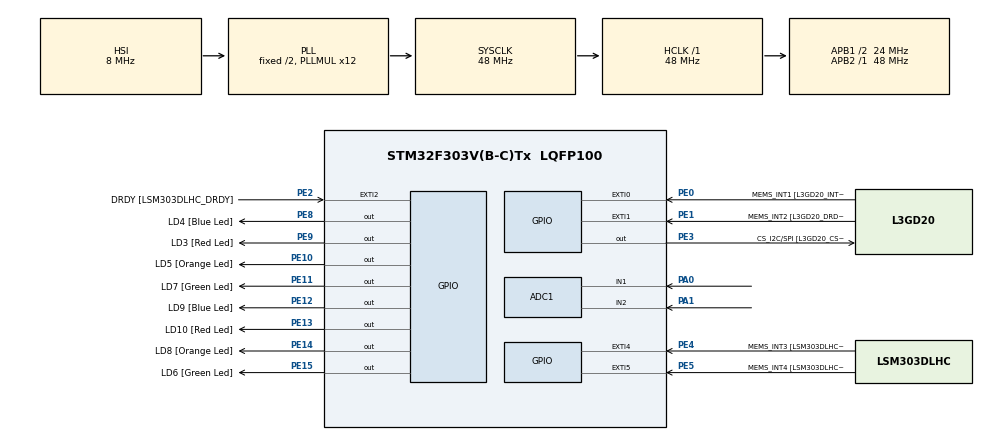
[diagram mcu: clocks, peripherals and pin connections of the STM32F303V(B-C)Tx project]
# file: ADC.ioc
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ADC1.Channel-5\#ChannelRegularConversion=ADC_CHANNEL_2
ADC1.Channel-6\#ChannelRegularConversion=ADC_CHANNEL_1
ADC1.NbrOfConversion=2
ADC1.NbrOfConversionFlag=1
ADC1.Offset-5\#ChannelRegularConversion=0
ADC1.Offset-6\#ChannelRegularConversion=0
ADC1.OffsetNumber-5\#ChannelRegularConversion=ADC_OFFSET_NONE
ADC1.OffsetNumber-6\#ChannelRegularConversion=ADC_OFFSET_NONE
ADC1.Rank-5\#ChannelRegularConversion=1
ADC1.Rank-6\#ChannelRegularConversion=2
ADC1.SamplingTime-5\#ChannelRegularConversion=ADC_SAMPLETIME_1CYCLE_5
ADC1.SamplingTime-6\#ChannelRegularConversion=ADC_SAMPLETIME_1CYCLE_5
ADC1.SamplingTimeOPAMP-6\#ChannelRegularConversion=ADC_SAMPLETIME_19CYCLES_5
ADC1.master=1
Dma.ADC1.0.Direction=DMA_PERIPH_TO_MEMORY
Dma.ADC1.0.Instance=DMA1_Channel1
Dma.ADC1.0.MemDataAlignment=DMA_MDATAALIGN_HALFWORD
Dma.ADC1.0.MemInc=DMA_MINC_ENABLE
Dma.ADC1.0.Mode=DMA_NORMAL
Dma.ADC1.0.PeriphDataAlignment=DMA_PDATAALIGN_HALFWORD
Dma.ADC1.0.PeriphInc=DMA_PINC_DISABLE
Dma.ADC1.0.Priority=DMA_PRIORITY_LOW
Dma.Request0=ADC1
Mcu.Family=STM32F3
Mcu.Name=STM32F303V(B-C)Tx
Mcu.Package=LQFP100
NVIC.DMA1_Channel1_IRQn=true\:0\:0\:false\:false\:true\:false\:true\:true
NVIC.PriorityGroup=NVIC_PRIORITYGROUP_0
PA0.Mode=IN1-Single-Ended
PA0.Signal=ADC1_IN1
PA1.Mode=IN2-Single-Ended
PA1.Signal=ADC1_IN2
PA11.GPIO_Label=DM
PA11.Signal=USB_DM
PA12.GPIO_Label=DP
PA12.Signal=USB_DP
PA13.GPIO_Label=SWDIO
PA13.Signal=SYS_JTMS-SWDIO
PA14.GPIO_Label=SWCLK
PA14.Signal=SYS_JTCK-SWCLK
PA5.GPIO_Label=SPI1_SCK [L3GD20_SCL/SPC]
PA5.GPIO_Mode=GPIO_MODE_AF_PP
PA5.GPIO_PuPd=GPIO_NOPULL
PA5.GPIO_Speed=GPIO_SPEED_FREQ_LOW
PA5.Signal=SPI1_SCK
PA6.GPIO_Label=SPI1_MISO [L3GD20_SA0/SDO]
PA6.GPIO_Mode=GPIO_MODE_AF_PP
PA6.GPIO_PuPd=GPIO_NOPULL
PA6.GPIO_Speed=GPIO_SPEED_FREQ_LOW
PA6.Signal=SPI1_MISO
PA7.GPIO_Label=SPI1_MISO [L3GD20_SDA/SDI/SDO]
PA7.GPIO_Mode=GPIO_MODE_AF_PP
PA7.GPIO_PuPd=GPIO_NOPULL
PA7.GPIO_Speed=GPIO_SPEED_FREQ_LOW
PA7.Signal=SPI1_MOSI
PB3.GPIO_Label=SWO
PB3.Signal=SYS_JTDO-TRACESWO
PB6.GPIO_FM6=__NULL
PB6.GPIO_Label=I2C1_SCL [LSM303DLHC_SCL]
PB6.GPIO_Mode=GPIO_MODE_AF_OD
PB6.GPIO_PuPd=GPIO_NOPULL
PB6.GPIO_Speed=GPIO_SPEED_FREQ_LOW
PB6.Signal=I2C1_SCL
PB7.GPIO_FM7=__NULL
PB7.GPIO_Label=I2C1_SDA [LSM303DLHC_SDA]
PB7.GPIO_Mode=GPIO_MODE_AF_OD
PB7.GPIO_PuPd=GPIO_NOPULL
PB7.GPIO_Speed=GPIO_SPEED_FREQ_LOW
PB7.Signal=I2C1_SDA
PC14-OSC32_IN.GPIO_Label=OSC32_IN
PC14-OSC32_IN.Signal=RCC_OSC32_IN
PC15-OSC32_OUT.GPIO_Label=OSC32_OUT
PC15-OSC32_OUT.Signal=RCC_OSC32_OUT
PE0.GPIO_Label=MEMS_INT1 [L3GD20_INT1]
PE0.GPIO_ModeDefaultEXTI=GPIO_MODE_EVT_RISING
PE0.GPIO_PuPd=GPIO_NOPULL
PE0.Signal=GPXTI0
PE1.GPIO_Label=MEMS_INT2 [L3GD20_DRDY/INT2]
PE1.GPIO_ModeDefaultEXTI=GPIO_MODE_EVT_RISING
PE1.GPIO_PuPd=GPIO_NOPULL
PE1.Signal=GPXTI1
PE10.GPIO_Label=LD5 [Orange Led]
PE10.GPIO_ModeDefaultOutputPP=GPIO_MODE_OUTPUT_PP
PE10.GPIO_PuPd=GPIO_NOPULL
PE10.GPIO_Speed=GPIO_SPEED_FREQ_LOW
PE10.Signal=GPIO_Output
PE11.GPIO_Label=LD7 [Green Led]
PE11.GPIO_ModeDefaultOutputPP=GPIO_MODE_OUTPUT_PP
PE11.GPIO_PuPd=GPIO_NOPULL
PE11.GPIO_Speed=GPIO_SPEED_FREQ_LOW
PE11.Signal=GPIO_Output
PE12.GPIO_Label=LD9 [Blue Led]
PE12.GPIO_ModeDefaultOutputPP=GPIO_MODE_OUTPUT_PP
PE12.GPIO_PuPd=GPIO_NOPULL
PE12.GPIO_Speed=GPIO_SPEED_FREQ_LOW
PE12.Signal=GPIO_Output
PE13.GPIO_Label=LD10 [Red Led]
PE13.GPIO_ModeDefaultOutputPP=GPIO_MODE_OUTPUT_PP
PE13.GPIO_PuPd=GPIO_NOPULL
PE13.GPIO_Speed=GPIO_SPEED_FREQ_LOW
PE13.Signal=GPIO_Output
PE14.GPIO_Label=LD8 [Orange Led]
PE14.GPIO_ModeDefaultOutputPP=GPIO_MODE_OUTPUT_PP
PE14.GPIO_PuPd=GPIO_NOPULL
PE14.GPIO_Speed=GPIO_SPEED_FREQ_LOW
PE14.Signal=GPIO_Output
PE15.GPIO_Label=LD6 [Green Led]
PE15.GPIO_ModeDefaultOutputPP=GPIO_MODE_OUTPUT_PP
PE15.GPIO_PuPd=GPIO_NOPULL
PE15.GPIO_Speed=GPIO_SPEED_FREQ_LOW
PE15.Signal=GPIO_Output
PE2.GPIO_Label=DRDY [LSM303DLHC_DRDY]
PE2.GPIO_ModeDefaultEXTI=GPIO_MODE_EVT_RISING
PE2.GPIO_PuPd=GPIO_NOPULL
PE2.Signal=GPXTI2
PE3.GPIO_Label=CS_I2C/SPI [L3GD20_CS_I2C/SPI]
PE3.GPIO_ModeDefaultOutputPP=GPIO_MODE_OUTPUT_PP
PE3.GPIO_PuPd=GPIO_NOPULL
PE3.GPIO_Speed=GPIO_SPEED_FREQ_LOW
PE3.Signal=GPIO_Output
PE4.GPIO_Label=MEMS_INT3 [LSM303DLHC_INT1]
PE4.GPIO_ModeDefaultEXTI=GPIO_MODE_EVT_RISING
PE4.GPIO_PuPd=GPIO_NOPULL
PE4.Signal=GPXTI4
PE5.GPIO_Label=MEMS_INT4 [LSM303DLHC_INT2]
PE5.GPIO_ModeDefaultEXTI=GPIO_MODE_EVT_RISING
PE5.GPIO_PuPd=GPIO_NOPULL
PE5.Signal=GPXTI5
PE8.GPIO_Label=LD4 [Blue Led]
PE8.GPIO_ModeDefaultOutputPP=GPIO_MODE_OUTPUT_PP
PE8.GPIO_PuPd=GPIO_NOPULL
PE8.GPIO_Speed=GPIO_SPEED_FREQ_LOW
PE8.Signal=GPIO_Output
PE9.GPIO_Label=LD3 [Red Led]
PE9.GPIO_ModeDefaultOutputPP=GPIO_MODE_OUTPUT_PP
PE9.GPIO_PuPd=GPIO_NOPULL
PE9.GPIO_Speed=GPIO_SPEED_FREQ_LOW
PE9.Signal=GPIO_Output
PF0-OSC_IN.GPIO_Label=OSC_IN
PF0-OSC_IN.Signal=RCC_OSC_IN
PF1-OSC_OUT.GPIO_Label=OSC_OUT
PF1-OSC_OUT.Signal=RCC_OSC_OUT
ProjectManager.HeapSize=0x200
ProjectManager.StackSize=0x400
ProjectManager.TargetToolchain=STM32CubeIDE
RCC.AHBFreq_Value=48000000
RCC.APB1CLKDivider=RCC_HCLK_DIV2
RCC.APB1Freq_Value=24000000
RCC.APB1TimFreq_Value=48000000
RCC.APB2Freq_Value=48000000
RCC.APB2TimFreq_Value=48000000
RCC.CortexFreq_Value=48000000
RCC.HCLKFreq_Value=48000000
RCC.HSE_VALUE=8000000
RCC.HSI_VALUE=8000000
RCC.LSE_VALUE=32768
RCC.PLLMUL=RCC_PLL_MUL12
RCC.SYSCLKFreq_VALUE=48000000
RCC.SYSCLKSourceVirtual=RCC_SYSCLKSOURCE_PLLCLK
RCC.USBFreq_Value=48000000
board=STM32F3DISCOVERY

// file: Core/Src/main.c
/* USER CODE BEGIN Header */
/**
  ******************************************************************************
  * @file           : main.c
  * @brief          : Main program body
  ******************************************************************************
  * @attention
  *
  * Copyright (c) 2023 STMicroelectronics.
  * All rights reserved.
  *
  * This software is licensed under terms that can be found in the LICENSE file
  * in the root directory of this software component.
  * If no LICENSE file comes with this software, it is provided AS-IS.
  *
  ******************************************************************************
  */
/* USER CODE END Header */
#include "main.h"

/* USER CODE BEGIN Includes */
#include "serial.h"
#include "data_handler.h"
#include <stdio.h>
#include <stdlib.h>
#include "led.h"
/* USER CODE END Includes */

ADC_HandleTypeDef hadc1;
DMA_HandleTypeDef hdma_adc1;

/* USER CODE BEGIN PV */
volatile uint16_t	adcResults [2];
const int 			adcChannels = 2;
volatile int		adcConvComplete = 0;
uint8_t pitch;
uint8_t yaw;
int scale = 0b00000001;
uint8_t string[100];

#define BUFFER 100
int current_game_state = 0;
char input_buffer[BUFFER] = {0}; //input data
int input_counter = 0;
/* USER CODE END PV */

void SystemClock_Config(void);
static void MX_GPIO_Init(void);
static void MX_DMA_Init(void);
static void MX_ADC1_Init(void);

/* USER CODE BEGIN 0 */
void USART1_IRQHandler(){

	char single_inp;
	int test = 0;

	test = SerialReceiveChar(&USART1_PORT, &single_inp);
	if (test == 1){
		input_buffer[input_counter] = single_inp;
		input_counter ++;
		//set_led(0b0101);
		//SerialOutputChar(single_inp, &USART1_PORT);
	}
	if (single_inp == 33){ //check for end of string character
		if (strncmp(input_buffer, "AA55", 4) == 0){ //check for sentinal char
			if (input_buffer[4] == 49){ //if msgtype is 1
				char *data = malloc(4);
				strcpy(data, input_buffer + 5);
				data[2] = 0;

				//SerialOutputString(data, &USART1_PORT);
				empty_buffer(input_buffer, BUFFER);
				input_counter = 0;
				test = 0;
				single_inp = 0;

				state_handler(data, &current_game_state);
				free(data);

				return;
			}

		}
		else{
			//set_led(0b100010); //error
		}
		//SerialOutputString(input_buffer, &USART1_PORT);

		empty_buffer(input_buffer, BUFFER);
		input_counter = 0;
		test = 0;
		single_inp = 0;

	}

}

void enter_login(){
	set_led(0b00110011);
	while(1){
		if (current_game_state != 5){
			SerialOutputString("!", &USART1_PORT);
			enter_waiting();
		}
		HAL_ADC_Start_DMA(&hadc1, (uint32_t*)adcResults, adcChannels);
	    while (adcConvComplete == 0)
	    {

	    }
	    adcConvComplete = 0;

  	    pitch = adcResults[0]/(4000/24);

	    yaw = adcResults[1]/(4000/24);
	    sprintf(string,"AA554%2hu%2hu!",pitch,yaw);
	    SerialOutputString(string, &USART1_PORT);
	    HAL_Delay(10);
	}
}

void enter_waiting(){
	set_led(0b11001100);
	while(1){
		check_state(current_game_state);
	}
}

/* USER CODE END 0 */

int main(void)
{

  /* MCU Configuration--------------------------------------------------------*/

  /* Reset of all peripherals, Initializes the Flash interface and the Systick. */
  HAL_Init();

  /* USER CODE BEGIN Init */

  SerialInitialise(BAUD_115200, &USART1_PORT, 0x00);
  enable_interrupts_RX();
  /* USER CODE END Init */

  /* Configure the system clock */
  SystemClock_Config();

  /* Initialize all configured peripherals */
  MX_GPIO_Init();
  MX_DMA_Init();
  MX_ADC1_Init();
  /* USER CODE BEGIN 2 */
  uint8_t *led_register = ((uint8_t*)&(GPIOE->ODR)) + 1;
  *led_register = 0b10101010;
  /* USER CODE END 2 */

  /* Infinite loop */
  /* USER CODE BEGIN WHILE */
  while (1)
  {
	  enter_waiting();

    /* USER CODE END WHILE */

  }
}

void SystemClock_Config(void)
{
  RCC_OscInitTypeDef RCC_OscInitStruct = {0};
  RCC_ClkInitTypeDef RCC_ClkInitStruct = {0};
  RCC_PeriphCLKInitTypeDef PeriphClkInit = {0};

  /** Initializes the RCC Oscillators according to the specified parameters
  * in the RCC_OscInitTypeDef structure.
  */
  RCC_OscInitStruct.OscillatorType = RCC_OSCILLATORTYPE_HSI;
  RCC_OscInitStruct.HSIState = RCC_HSI_ON;
  RCC_OscInitStruct.HSICalibrationValue = RCC_HSICALIBRATION_DEFAULT;
  RCC_OscInitStruct.PLL.PLLState = RCC_PLL_ON;
  RCC_OscInitStruct.PLL.PLLSource = RCC_PLLSOURCE_HSI;
  RCC_OscInitStruct.PLL.PLLMUL = RCC_PLL_MUL12;
  if (HAL_RCC_OscConfig(&RCC_OscInitStruct) != HAL_OK)
  {
    Error_Handler();
  }

  /** Initializes the CPU, AHB and APB buses clocks
  */
  RCC_ClkInitStruct.ClockType = RCC_CLOCKTYPE_HCLK|RCC_CLOCKTYPE_SYSCLK
                              |RCC_CLOCKTYPE_PCLK1|RCC_CLOCKTYPE_PCLK2;
  RCC_ClkInitStruct.SYSCLKSource = RCC_SYSCLKSOURCE_PLLCLK;
  RCC_ClkInitStruct.AHBCLKDivider = RCC_SYSCLK_DIV1;
  RCC_ClkInitStruct.APB1CLKDivider = RCC_HCLK_DIV2;
  RCC_ClkInitStruct.APB2CLKDivider = RCC_HCLK_DIV1;

  if (HAL_RCC_ClockConfig(&RCC_ClkInitStruct, FLASH_LATENCY_1) != HAL_OK)
  {
    Error_Handler();
  }
  PeriphClkInit.PeriphClockSelection = RCC_PERIPHCLK_ADC12;
  PeriphClkInit.Adc12ClockSelection = RCC_ADC12PLLCLK_DIV1;
  if (HAL_RCCEx_PeriphCLKConfig(&PeriphClkInit) != HAL_OK)
  {
    Error_Handler();
  }
}

static void MX_ADC1_Init(void)
{

  ADC_MultiModeTypeDef multimode = {0};
  ADC_ChannelConfTypeDef sConfig = {0};

  /** Common config
  */
  hadc1.Instance = ADC1;
  hadc1.Init.ClockPrescaler = ADC_CLOCK_ASYNC_DIV1;
  hadc1.Init.Resolution = ADC_RESOLUTION_12B;
  hadc1.Init.ScanConvMode = ADC_SCAN_ENABLE;
  hadc1.Init.ContinuousConvMode = DISABLE;
  hadc1.Init.DiscontinuousConvMode = DISABLE;
  hadc1.Init.ExternalTrigConvEdge = ADC_EXTERNALTRIGCONVEDGE_NONE;
  hadc1.Init.ExternalTrigConv = ADC_SOFTWARE_START;
  hadc1.Init.DataAlign = ADC_DATAALIGN_RIGHT;
  hadc1.Init.NbrOfConversion = 2;
  hadc1.Init.DMAContinuousRequests = DISABLE;
  hadc1.Init.EOCSelection = ADC_EOC_SINGLE_CONV;
  hadc1.Init.LowPowerAutoWait = DISABLE;
  hadc1.Init.Overrun = ADC_OVR_DATA_OVERWRITTEN;
  if (HAL_ADC_Init(&hadc1) != HAL_OK)
  {
    Error_Handler();
  }

  /** Configure the ADC multi-mode
  */
  multimode.Mode = ADC_MODE_INDEPENDENT;
  if (HAL_ADCEx_MultiModeConfigChannel(&hadc1, &multimode) != HAL_OK)
  {
    Error_Handler();
  }

  /** Configure Regular Channel
  */
  sConfig.Channel = ADC_CHANNEL_2;
  sConfig.Rank = ADC_REGULAR_RANK_1;
  sConfig.SingleDiff = ADC_SINGLE_ENDED;
  sConfig.SamplingTime = ADC_SAMPLETIME_1CYCLE_5;
  sConfig.OffsetNumber = ADC_OFFSET_NONE;
  sConfig.Offset = 0;
  if (HAL_ADC_ConfigChannel(&hadc1, &sConfig) != HAL_OK)
  {
    Error_Handler();
  }

  /** Configure Regular Channel
  */
  sConfig.Channel = ADC_CHANNEL_1;
  sConfig.Rank = ADC_REGULAR_RANK_2;
  if (HAL_ADC_ConfigChannel(&hadc1, &sConfig) != HAL_OK)
  {
    Error_Handler();
  }

}

static void MX_DMA_Init(void)
{

  /* DMA controller clock enable */
  __HAL_RCC_DMA1_CLK_ENABLE();

  /* DMA interrupt init */
  /* DMA1_Channel1_IRQn interrupt configuration */
  HAL_NVIC_SetPriority(DMA1_Channel1_IRQn, 0, 0);
  HAL_NVIC_EnableIRQ(DMA1_Channel1_IRQn);

}

static void MX_GPIO_Init(void)
{
  GPIO_InitTypeDef GPIO_InitStruct = {0};

  /* GPIO Ports Clock Enable */
  __HAL_RCC_GPIOE_CLK_ENABLE();
  __HAL_RCC_GPIOC_CLK_ENABLE();
  __HAL_RCC_GPIOF_CLK_ENABLE();
  __HAL_RCC_GPIOA_CLK_ENABLE();
  __HAL_RCC_GPIOB_CLK_ENABLE();

  /*Configure GPIO pin Output Level */
  HAL_GPIO_WritePin(GPIOE, CS_I2C_SPI_Pin|LD4_Pin|LD3_Pin|LD5_Pin
                          |LD7_Pin|LD9_Pin|LD10_Pin|LD8_Pin
                          |LD6_Pin, GPIO_PIN_RESET);

  /*Configure GPIO pins : DRDY_Pin MEMS_INT3_Pin MEMS_INT4_Pin MEMS_INT1_Pin
                           MEMS_INT2_Pin */
  GPIO_InitStruct.Pin = DRDY_Pin|MEMS_INT3_Pin|MEMS_INT4_Pin|MEMS_INT1_Pin
                          |MEMS_INT2_Pin;
  GPIO_InitStruct.Mode = GPIO_MODE_EVT_RISING;
  GPIO_InitStruct.Pull = GPIO_NOPULL;
  HAL_GPIO_Init(GPIOE, &GPIO_InitStruct);

  /*Configure GPIO pins : CS_I2C_SPI_Pin LD4_Pin LD3_Pin LD5_Pin
                           LD7_Pin LD9_Pin LD10_Pin LD8_Pin
                           LD6_Pin */
  GPIO_InitStruct.Pin = CS_I2C_SPI_Pin|LD4_Pin|LD3_Pin|LD5_Pin
                          |LD7_Pin|LD9_Pin|LD10_Pin|LD8_Pin
                          |LD6_Pin;
  GPIO_InitStruct.Mode = GPIO_MODE_OUTPUT_PP;
  GPIO_InitStruct.Pull = GPIO_NOPULL;
  GPIO_InitStruct.Speed = GPIO_SPEED_FREQ_LOW;
  HAL_GPIO_Init(GPIOE, &GPIO_InitStruct);

  /*Configure GPIO pins : SPI1_SCK_Pin SPI1_MISO_Pin SPI1_MISOA7_Pin */
  GPIO_InitStruct.Pin = SPI1_SCK_Pin|SPI1_MISO_Pin|SPI1_MISOA7_Pin;
  GPIO_InitStruct.Mode = GPIO_MODE_AF_PP;
  GPIO_InitStruct.Pull = GPIO_NOPULL;
  GPIO_InitStruct.Speed = GPIO_SPEED_FREQ_LOW;
  GPIO_InitStruct.Alternate = GPIO_AF5_SPI1;
  HAL_GPIO_Init(GPIOA, &GPIO_InitStruct);

  /*Configure GPIO pins : DM_Pin DP_Pin */
  GPIO_InitStruct.Pin = DM_Pin|DP_Pin;
  GPIO_InitStruct.Mode = GPIO_MODE_AF_PP;
  GPIO_InitStruct.Pull = GPIO_NOPULL;
  GPIO_InitStruct.Speed = GPIO_SPEED_FREQ_HIGH;
  GPIO_InitStruct.Alternate = GPIO_AF14_USB;
  HAL_GPIO_Init(GPIOA, &GPIO_InitStruct);

  /*Configure GPIO pins : I2C1_SCL_Pin I2C1_SDA_Pin */
  GPIO_InitStruct.Pin = I2C1_SCL_Pin|I2C1_SDA_Pin;
  GPIO_InitStruct.Mode = GPIO_MODE_AF_OD;
  GPIO_InitStruct.Pull = GPIO_NOPULL;
  GPIO_InitStruct.Speed = GPIO_SPEED_FREQ_LOW;
  GPIO_InitStruct.Alternate = GPIO_AF4_I2C1;
  HAL_GPIO_Init(GPIOB, &GPIO_InitStruct);

}

/* USER CODE BEGIN 4 */
void HAL_ADC_ConvCpltCallback(ADC_HandleTypeDef *hadc)
{
	adcConvComplete = 1;
}
/* USER CODE END 4 */

void Error_Handler(void)
{
  __disable_irq();
  while (1)
  {
  }
}
